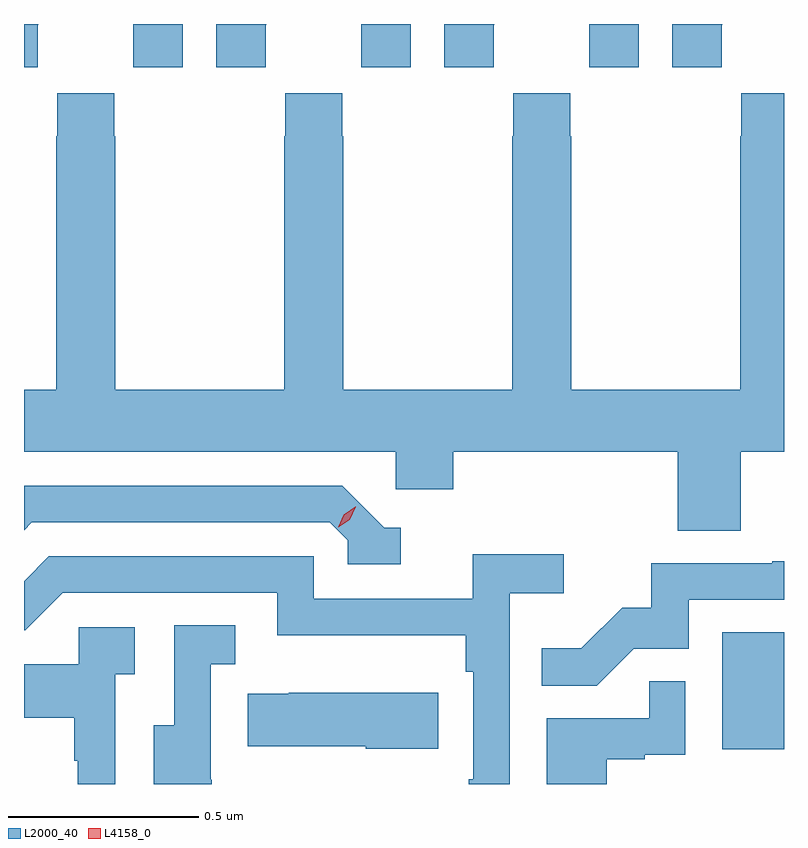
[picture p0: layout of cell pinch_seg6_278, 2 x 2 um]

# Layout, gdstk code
import gdstk
lib = gdstk.Library(unit=1e-6, precision=1e-09)
def R(c, l, rs):  # rectangles x0, y0, x1, y1
    for r in rs: c.add(gdstk.rectangle(r[:2], r[2:], *l))
def P(c, l, *ps):  # polygons
    for p in ps: c.add(gdstk.Polygon(p, *l))
L2000_40 = (2000, 40)
L4158_0 = (4158, 0)

pinch_seg6_278 = lib.new_cell('pinch_seg6_278')
R(pinch_seg6_278, L2000_40, [(792.068,987.846,792.23,988.153)])
P(pinch_seg6_278, L2000_40, [(790.266,989.752),(790.267,989.752),(790.267,989.754),(790.23,989.754),(790.23,989.64),(790.266,989.64)],
  [(790.648,989.754),(790.517,989.754),(790.517,989.752),(790.518,989.752),(790.518,989.64),(790.648,989.64)],
  [(790.866,989.752),(790.867,989.752),(790.867,989.754),(790.736,989.754),(790.736,989.64),(790.866,989.64)],
  [(791.248,989.754),(791.117,989.754),(791.117,989.752),(791.118,989.752),(791.118,989.64),(791.248,989.64)],
  [(791.466,989.752),(791.467,989.752),(791.467,989.754),(791.336,989.754),(791.336,989.64),(791.466,989.64)],
  [(791.848,989.754),(791.717,989.754),(791.717,989.752),(791.718,989.752),(791.718,989.64),(791.848,989.64)],
  [(792.066,989.752),(792.067,989.752),(792.067,989.754),(791.936,989.754),(791.936,989.64),(792.066,989.64)],
  [(792.116,988.628),(792.23,988.628),(792.23,989.572),(792.117,989.572),(792.117,989.459),(792.115,989.459),(792.115,988.792),(791.67,988.792),(791.67,989.459),(791.667,989.459),(791.667,989.572),(791.517,989.572),(791.517,989.459),(791.515,989.459),(791.515,988.792),(791.07,988.792),(791.07,989.459),(791.067,989.459),(791.067,989.572),(790.917,989.572),(790.917,989.459),(790.915,989.459),(790.915,988.792),(790.47,988.792),(790.47,989.459),(790.467,989.459),(790.467,989.572),(790.317,989.572),(790.317,989.459),(790.315,989.459),(790.315,988.792),(790.23,988.792),(790.23,988.628),(791.208,988.628),(791.208,988.53),(791.36,988.53),(791.36,988.628),(791.951,988.628),(791.951,988.42),(792.116,988.42)],
  [(791.221,988.428),(791.178,988.428),(791.067,988.539),(790.23,988.539),(790.23,988.422),(790.251,988.443),(791.034,988.443),(791.082,988.395),(791.082,988.332),(791.221,988.332)],
  [(791.508,988.256),(791.65,988.256),(791.65,988.358),(791.411,988.358),(791.411,988.242),(790.992,988.242),(790.992,988.353),(790.295,988.353),(790.23,988.288),(790.23,988.158),(790.233,988.158),(790.332,988.257),(790.896,988.257),(790.896,988.145),(791.392,988.145),(791.392,988.049),(791.412,988.049),(791.412,987.767),(791.4,987.767),(791.4,987.754),(791.508,987.754)],
  [(791.835,988.11),(791.979,988.11),(791.979,988.239),(792.23,988.239),(792.23,988.34),(792.199,988.34),(792.199,988.335),(791.881,988.335),(791.881,988.218),(791.804,988.218),(791.697,988.111),(791.593,988.111),(791.593,988.012),(791.737,988.012)],
  [(790.724,987.765),(790.722,987.765),(790.722,988.069),(790.786,988.069),(790.786,988.172),(790.626,988.172),(790.626,987.909),(790.571,987.909),(790.571,987.754),(790.724,987.754)],
  [(790.47,988.043),(790.522,988.043),(790.522,988.167),(790.374,988.167),(790.374,988.069),(790.23,988.069),(790.23,987.929),(790.362,987.929),(790.362,987.815),(790.372,987.815),(790.372,987.754),(790.47,987.754)],
  [(791.764,987.819),(791.864,987.819),(791.864,987.831),(791.97,987.831),(791.97,988.025),(791.875,988.025),(791.875,987.927),(791.606,987.927),(791.606,987.754),(791.764,987.754)],
  [(791.32,987.994),(790.927,987.994),(790.927,987.991),(790.819,987.991),(790.819,987.854),(791.129,987.854),(791.129,987.847),(791.32,987.847)])
P(pinch_seg6_278, L4158_0, [(791.057,988.43),(791.057,988.43),(791.072,988.463),(791.102,988.483),(791.103,988.483),(791.103,988.483),(791.087,988.45),(791.057,988.43)])

lib.write_gds('pinch_seg6_278.gds')
